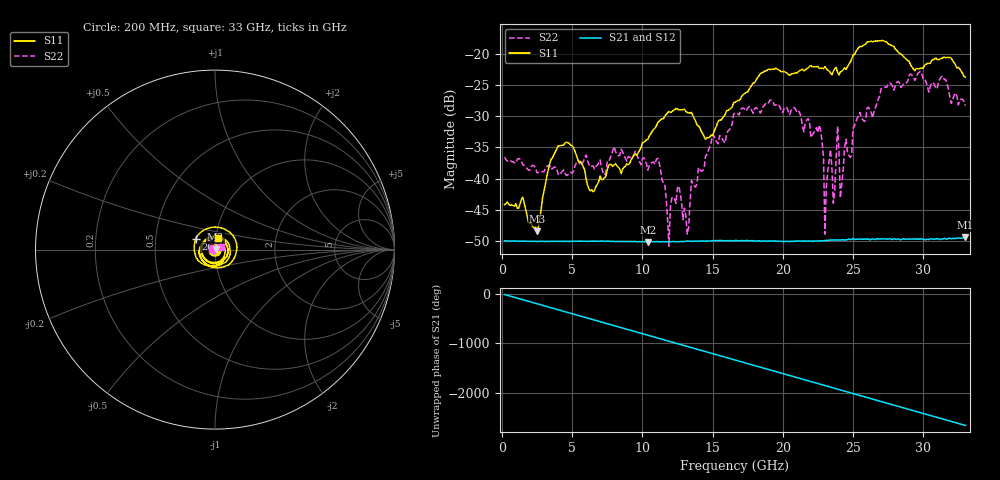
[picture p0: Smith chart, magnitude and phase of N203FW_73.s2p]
# GHZ S RI R 50
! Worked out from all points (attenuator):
!   329 points, 200 MHz to 33 GHz, reference 50 ohm
!   highest |S21| = -49.41 dB at 33 GHz (marker M1); lowest = -50.1 dB at 10.4 GHz (marker M2)
!   lowest |S11| = -48.4 dB at 2.5 GHz (marker M3), VSWR 1.01, Z = 50.4 + j0.136 ohm
!   |S11| at or under -10 dB: start of sweep to end of sweep
!   |S22| runs from -50.8 to -22.9 dB; largest |S21 - S12| = 8.8e-05
!   S11 on the Smith chart (normalised r, x): 200 MHz: 1.01, +0.00; 26 GHz: 0.80, +0.10; 33 GHz: 1.02, +0.13
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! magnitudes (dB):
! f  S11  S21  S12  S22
! 200 MHz  -44.2  -50.0  -49.9  -36.6
! 2.5 GHz  -48.4  -50.1  -50.0  -39.1
! 4 GHz  -34.8  -50.0  -50.0  -39.3
! 5.7 GHz  -37.6  -50.0  -50.0  -37.7
! 10.4 GHz  -33.7  -50.1  -50.1  -38.6
! 11.2 GHz  -30.8  -50.1  -50.1  -37.4
! 11.9 GHz  -29.2  -50.1  -50.1  -50.8
! 12.1 GHz  -29.3  -50.1  -50.1  -43.1
! 13.2 GHz  -29.4  -50.0  -50.0  -48.9
! 13.5 GHz  -29.4  -50.0  -50.0  -40.3
! 16.6 GHz  -27.8  -49.9  -49.9  -29.5
! 22.1 GHz  -22.1  -50.0  -50.0  -33.0
! 22.7 GHz  -22.4  -50.0  -49.9  -32.3
! 22.9 GHz  -22.4  -49.9  -49.9  -36.5
! 23 GHz  -22.1  -49.9  -49.9  -48.9
! 23.4 GHz  -23.1  -49.8  -49.8  -35.4
! 23.6 GHz  -22.8  -49.8  -49.8  -43.9
! 23.9 GHz  -23.0  -49.8  -49.8  -31.6
! 24.1 GHz  -22.9  -49.8  -49.8  -43.1
! 26 GHz  -18.2  -49.7  -49.7  -28.7
! 27.6 GHz  -18.5  -49.6  -49.7  -24.7
! 33 GHz  -23.8  -49.4  -49.4  -28.3
